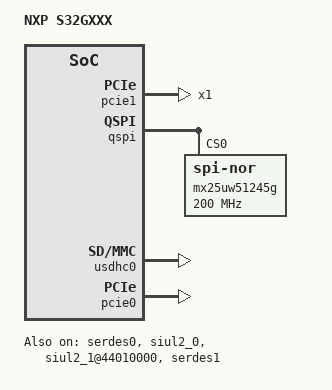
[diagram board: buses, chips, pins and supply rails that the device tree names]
// SPDX-License-Identifier: GPL-2.0+
/*
 * Copyright 2017-2022 NXP
 *
 * This program is free software; you can redistribute it and/or modify
 * it under the terms of the GNU General Public License as published by
 * the Free Software Foundation; either version 2 of the License, or
 * (at your option) any later version.
 */
#include <dt-bindings/clock/s32g-scmi-clock.h>
#include <dt-bindings/nvmem/s32cc-siul2-nvmem.h>
#include <dt-bindings/pinctrl/s32g-pinctrl.h>

#include "s32cc.dtsi"
/ {
	model = "NXP S32GXXX";

	signature {
		key-boot_key {
			required = "conf";
			algo = "sha1,rsa2048";
			key-name-hint = "boot_key";
		};
	};

	reserved-memory {
		#address-cells = <2>;
		#size-cells = <2>;
		ranges;

		pfe_reserved: pfe_reserved@83400000 {
			no-map;
			reg = <0 0x83400000 0 0x8000>; /* 32K */
		};
	};

	soc {
		siul2_0: siul2_0@4009c000 {
			compatible = "simple-mfd";
			status = "okay";
			reg = <0x0 0x4009c000 0x0 0x2000>;
			u-boot,dm-pre-reloc;

			pinctrl0: siul2-pinctrl0 {
				compatible = "nxp,s32cc-siul2-pinctrl";
				#pinctrl-cells = <2>;
				/* MSCR range */
				pins = <&pinctrl0 0 101>,
				/* IMCR range */
				<&pinctrl0 512 595>;
				status = "okay";
			};

			gpio0: siul2-gpio0 {
				compatible = "nxp,s32cc-siul2-gpio";
				#gpio-cells = <2>;
				gpio-controller;
				gpio-ranges = <&pinctrl0 0 0 102>;
				status = "okay";
			};

			siul2_0_nvram: siul2_0_nvram {
				#address-cells = <1>;
				#size-cells = <1>;

				status = "okay";
				u-boot,dm-pre-reloc;

				soc_letter: soc_letter@0 {
					reg = <S32CC_SOC_LETTER S32CC_CELL_SIZE>;
					u-boot,dm-pre-reloc;
				};

				part_no: part_no@4 {
					reg = <S32CC_SOC_PART_NO S32CC_CELL_SIZE>;
					u-boot,dm-pre-reloc;
				};

				soc_major: soc_major@8 {
					reg = <S32CC_SOC_MAJOR S32CC_CELL_SIZE>;
					u-boot,dm-pre-reloc;
				};

				soc_minor: soc_minor@c {
					reg = <S32CC_SOC_MINOR S32CC_CELL_SIZE>;
					u-boot,dm-pre-reloc;
				};

				core_max_freq: core_max_freq@10 {
					reg = <S32CC_MAX_CORE_FREQ S32CC_CELL_SIZE>;
					u-boot,dm-pre-reloc;
				};

				max_cpus_per_cluster: max_cpus_per_cluster@14 {
					reg = <S32CC_MAX_A53_CORES_PER_CLUSTER
					    S32CC_CELL_SIZE>;
					u-boot,dm-pre-reloc;
				};

				a53_cores_mask: a53_cores_mask@18 {
					reg = <S32CC_A53_CORES_MASK S32CC_CELL_SIZE>;
					u-boot,dm-pre-reloc;
				};

				pcie_dev_id: pcie_dev_id@1c {
					reg = <S32CC_OVERWRITE_PCIE_DEV_ID
					    S32CC_CELL_SIZE>;
				};
			};
		};

		siul2_1@44010000 {
			compatible = "simple-mfd";
			status = "okay";
			reg = <0x0 0x44010000 0x0 0x2000>;
			u-boot,dm-pre-reloc;

			pinctrl1: siul2-pinctrl1 {
				compatible = "nxp,s32cc-siul2-pinctrl";
				#pinctrl-cells = <2>;
				/* MSCR range */
				pins = <&pinctrl1 112 190>,
				/* IMCR range */
				<&pinctrl1 631 1023>;
				status = "okay";
			};

			gpio1: siul2-gpio1 {
				compatible = "nxp,s32cc-siul2-gpio";
				#gpio-cells = <2>;
				gpio-controller;
				gpio-ranges = <&pinctrl1 0 112 11>,
					<&pinctrl1 11 144 47>;
				status = "okay";
			};

			siul2_1_nvram: siul2_1_nvram {
				#address-cells = <1>;
				#size-cells = <1>;

				status = "okay";
				u-boot,dm-pre-reloc;

				serdes_presence: serdes_presence@100 {
					reg = <S32CC_SERDES_PRESENCE S32CC_CELL_SIZE>;
				};

				soc_subminor: soc_subminor@108 {
					reg = <S32CC_SOC_SUBMINOR S32CC_CELL_SIZE>;
					u-boot,dm-pre-reloc;
				};
			};
		};

		pcie1: pcie@44100000 {
			compatible = "nxp,s32cc-pcie";
			reg =
				<0x00 0x44100000 0x0 0x80000   /* dbi registers */
				/* configuration space, 4KB each for cfg0 and cfg1
				 * at the end of the outbound memory map
				 */
				0x4f 0xffffe000 0x0 0x00002000>;
			reg-names = "dbi", "config";
			#address-cells = <3>;
			#size-cells = <2>;
			device_type = "pci";
			serdes-handle = <&serdes1>;
			nvmem-cells = <&siul2_0_nvram>;
			device_id = <1>;
			num-lanes = <1>; /* supports max 1 pcie lane */
			link-speed = <3>; /* supports Gen3 speed */
			bus-range = <0x0 0xff>;
			ranges =
				/* downstream I/O, 64KB and aligned naturally just before
				 * the config space to minimize fragmentation
				 */
				<0x81000000 0x0 0x00000000 0x4f 0xfffe0000 0x0 0x00010000
				/* non-prefetchable memory, with best case size
				 * and alignment
				 */
				 0x82000000 0x0 0x00000000 0x48 0x00000000 0x7 0xfffe0000>;
			status = "disabled";
		};

		serdes1: serdes@44180000 {
			compatible = "nxp,s32cc-serdes";
			reg = <0x00 0x44100000 0x0 0x80000   /* dbi registers */
			       0x00 0x44180000 0x0 0x04000>; /* serdes registers */
			reg-names = "dbi", "ss";
			#address-cells = <3>;
			#size-cells = <2>;
			device_type = "pci-generic";
			device_id = <1>;
			num-lanes = <2>; /* supports max 2 lanes */
			clocks = <&clks S32GEN1_SCMI_CLK_SERDES_REF>;
			status = "okay";
		};

		pfe: ethernet@46080000 {
			compatible = "fsl,s32g274a-pfe";
			reg = <0x0 0x46000000 0x0 0x1000000>;
			clocks = <&clks S32G_SCMI_CLK_PFE_PE>,
				<&clks S32G_SCMI_CLK_PFE_AXI>,
				<&clks S32GEN1_SCMI_CLK_GMAC0_TS>,
				/* PFE0 */
				<&clks S32G_SCMI_CLK_PFE0_RX_SGMII>,
				<&clks S32G_SCMI_CLK_PFE0_TX_SGMII>,
				<&clks S32G_SCMI_CLK_PFE0_RX_RGMII>,
				<&clks S32G_SCMI_CLK_PFE0_TX_RGMII>,
				/* PFE1 */
				<&clks S32G_SCMI_CLK_PFE1_RX_SGMII>,
				<&clks S32G_SCMI_CLK_PFE1_TX_SGMII>,
				<&clks S32G_SCMI_CLK_PFE1_RX_RGMII>,
				<&clks S32G_SCMI_CLK_PFE1_TX_RGMII>,
				/* PFE2 */
				<&clks S32G_SCMI_CLK_PFE2_RX_SGMII>,
				<&clks S32G_SCMI_CLK_PFE2_TX_SGMII>,
				<&clks S32G_SCMI_CLK_PFE2_RX_RGMII>,
				<&clks S32G_SCMI_CLK_PFE2_TX_RGMII>;
			clock-names = "pe", "axi", "ts",
				"mac0_rx_sgmii", "mac0_tx_sgmii",
				"mac0_rx_rgmii", "mac0_tx_rgmii",
				"mac1_rx_sgmii", "mac1_tx_sgmii",
				"mac1_rx_rgmii", "mac1_tx_rgmii",
				"mac2_rx_sgmii", "mac2_tx_sgmii",
				"mac2_rx_rgmii", "mac2_tx_rgmii";
			pinctrl-0 = <&pinctrl0_pfe0 &pinctrl0_pfe0_mdio &pinctrl1_pfe0
				&pinctrl1_pfe0_mdio>;
			pinctrl-1 = <&pinctrl0_pfe0_mdio &pinctrl1_pfe0_mdio>;
			pinctrl-2 = <&pinctrl0_pfe1 &pinctrl0_pfe1_mdio &pinctrl1_pfe1
				&pinctrl1_pfe1_mdio>;
			pinctrl-3 = <&pinctrl0_pfe1_mdio &pinctrl1_pfe1_mdio>;
			pinctrl-4 = <&pinctrl0_pfe2 &pinctrl0_pfe2_mdio &pinctrl1_pfe2
				&pinctrl1_pfe2_mdio>;
			pinctrl-5 = <&pinctrl0_pfe2_mdio &pinctrl1_pfe2_mdio>;
			pinctrl-names = "pfe0_rgmii", "pfe0_sgmii",
				"pfe1_rgmii", "pfe1_sgmii",
				"pfe2_rgmii", "pfe2_sgmii";
			status = "disabled";
			memory-region = <&pfe_reserved>;
		};
	};
};

&gmac0 {
	clocks = <&clks S32GEN1_SCMI_CLK_GMAC0_TS>,
		 <&clks S32GEN1_SCMI_CLK_GMAC0_RX_SGMII>,
		 <&clks S32GEN1_SCMI_CLK_GMAC0_TX_SGMII>,
		 <&clks S32GEN1_SCMI_CLK_GMAC0_RX_RGMII>,
		 <&clks S32GEN1_SCMI_CLK_GMAC0_TX_RGMII>,
		 <&clks S32GEN1_SCMI_CLK_GMAC0_AXI>;
	clock-names = "ts", "rx_sgmii", "tx_sgmii",
		      "rx_rgmii", "tx_rgmii", "axi";
	pinctrl-0 = <&pinctrl0_gmac0 &pinctrl0_gmac0_mdio>;
	pinctrl-1 = <&pinctrl0_gmac0_mdio>;
	pinctrl-names = "gmac_rgmii", "gmac_sgmii";
};

&qspi {
	compatible = "nxp,s32g-qspi", "nxp,s32cc-qspi";
	status = "okay";

	mx25uw51245g@0 {
		#address-cells = <1>;
		#size-cells = <1>;
		compatible = "jedec,spi-nor";
		spi-max-frequency = <200000000>;
		spi-tx-bus-width = <8>;
		spi-rx-bus-width = <8>;
		reg = <0>;
	};
};

&usdhc0 {
	status = "okay";
};

&pcie0 {
	status = "okay";

	link-speed = <3>; /* Gen3 */
};

&pcie1 {
	status = "okay";

	link-speed = <2>; /* Gen2 */
};

&serdes0 {
	status = "okay";
};

&pinctrl0 {
	board_generic_pinctrl0 {
		u-boot,dm-pre-reloc;
		pinctrl0_sd0: pinctrl0_sd0 {
			fsl,pins = <PC14_MSCR_S32G PC14_SD0_CLK_CFG
				    PC15_MSCR_S32G PC15_SD0_CMD_CFG
				    PD00_MSCR_S32G PD00_SD0_D0_CFG
				    PD01_MSCR_S32G PD01_SD0_D1_CFG
				    PD02_MSCR_S32G PD02_SD0_D2_CFG
				    PD03_MSCR_S32G PD03_SD0_D3_CFG
				    PD04_MSCR_S32G PD04_SD0_D4_CFG
				    PD05_MSCR_S32G PD05_SD0_D5_CFG
				    PD06_MSCR_S32G PD06_SD0_D6_CFG
				    PD07_MSCR_S32G PD07_SD0_D7_CFG
				    PD08_MSCR_S32G PD08_SD0_RST_CFG
				    PD09_MSCR_S32G PD09_SD0_VSELECT_CFG
				    PD10_MSCR_S32G PD10_SD0_DQS_CFG
				    SD0_CMD_IMCR PC15_SD0_CMD_IN
				    SD0_D0_IMCR PD00_SD0_D0_IN
				    SD0_D1_IMCR PD01_SD0_D1_IN
				    SD0_D2_IMCR PD02_SD0_D2_IN
				    SD0_D3_IMCR PD03_SD0_D3_IN
				    SD0_D4_IMCR PD04_SD0_D4_IN
				    SD0_D5_IMCR PD05_SD0_D5_IN
				    SD0_D6_IMCR PD06_SD0_D6_IN
				    SD0_D7_IMCR PD07_SD0_D7_IN
				    SD0_DQS_IMCR PD10_SD0_DQS_IN
				    >;
		};

		pinctrl0_gmac0_mdio: pinctrl0_gmac0_mdio {
			fsl,pins = <PD12_MSCR_S32G PD12_GMAC0_MDC_CFG
				    PD13_MSCR_S32G PD13_GMAC0_MDIO_CFG
				    GMAC0_MDIO_IMCR PD13_GMAC0_MDIO_IN
				    >;
		};

		pinctrl0_gmac0: pinctrl0_gmac0 {
			fsl,pins = <PE02_MSCR_S32G PE02_GMAC0_TX_CLK_CFG
				    PE03_MSCR_S32G PE03_GMAC0_TX_EN_CFG
				    PE04_MSCR_S32G PE04_GMAC0_TX_D0_CFG
				    PE05_MSCR_S32G PE05_GMAC0_TX_D1_CFG
				    PE06_MSCR_S32G PE06_GMAC0_TX_D2_CFG
				    PE07_MSCR_S32G PE07_GMAC0_TX_D3_CFG
				    PE08_MSCR_S32G PE08_GMAC0_RX_CLK_CFG
				    PE09_MSCR_S32G PE09_GMAC0_RX_DV_CFG
				    PE10_MSCR_S32G PE10_GMAC0_RX_D0_CFG
				    PE11_MSCR_S32G PE11_GMAC0_RX_D1_CFG
				    PE12_MSCR_S32G PE12_GMAC0_RX_D2_CFG
				    PE13_MSCR_S32G PE13_GMAC0_RX_D3_CFG
				    GMAC0_TX_CLK_IMCR PE02_GMAC0_TX_CLK_IN
				    GMAC0_RX_CLK_IMCR PE08_GMAC0_RX_CLK_IN
				    GMAC0_RX_DV_IMCR PE09_GMAC0_RX_DV_IN
				    GMAC0_RX_D0_IMCR PE10_GMAC0_RX_D0_IN
				    GMAC0_RX_D1_IMCR PE11_GMAC0_RX_D1_IN
				    GMAC0_RX_D2_IMCR PE12_GMAC0_RX_D2_IN
				    GMAC0_RX_D3_IMCR PE13_GMAC0_RX_D3_IN
				    >;
		};

		pinctrl0_pfe0_mdio: pinctrl0_pfe0_mdio {
			fsl,pins = <PE15_MSCR_S32G PE15_PFE0_MDIO_CFG
				    PF02_MSCR_S32G PF02_PFE0_MDC_CFG
				    >;
		};

		pinctrl0_pfe0: pinctrl0_pfe0 {
			fsl,pins = <PE14_MSCR_S32G PE14_PFE0_TX_EN_CFG>;
		};

		pinctrl0_pfe1_mdio: pinctrl0_pfe1_mdio {
			fsl,pins = <PD12_MSCR_S32G PD12_PFE1_MDC_CFG
				    PD13_MSCR_S32G PD13_PFE1_MDIO_CFG
				    >;
		};

		pinctrl0_pfe1: pinctrl0_pfe1 {
			fsl,pins = <PE02_MSCR_S32G PE02_PFE1_TX_CLK_CFG
				    PE03_MSCR_S32G PE03_PFE1_TX_EN_CFG
				    PE04_MSCR_S32G PE04_PFE1_TX_D0_CFG
				    PE05_MSCR_S32G PE05_PFE1_TX_D1_CFG
				    PE06_MSCR_S32G PE06_PFE1_TX_D2_CFG
				    PE07_MSCR_S32G PE07_PFE1_TX_D3_CFG
				    PE08_MSCR_S32G PE08_PFE1_RX_CLK_CFG
				    PE09_MSCR_S32G PE09_PFE1_RX_DV_CFG
				    PE10_MSCR_S32G PE10_PFE1_RX_D0_CFG
				    PE11_MSCR_S32G PE11_PFE1_RX_D1_CFG
				    PE12_MSCR_S32G PE12_PFE1_RX_D2_CFG
				    PE13_MSCR_S32G PE13_PFE1_RX_D3_CFG
				    >;
		};

		pinctrl0_pfe2_mdio: pinctrl0_pfe2_mdio {
			fsl,pins = <PE15_MSCR_S32G PE15_PFE2_MDIO_CFG
				    PF02_MSCR_S32G PF02_PFE2_MDC_CFG
				    >;
		};

		pinctrl0_pfe2: pinctrl0_pfe2 {
			fsl,pins = <PE14_MSCR_S32G PE14_PFE2_TX_EN_CFG>;
		};
	};
};

&pinctrl1 {
	board_generic_pinctrl1 {
		pinctrl1_pfe0_mdio: pinctrl1_pfe0_mdio {
			fsl,pins = <PFE0_MDIO_IMCR PE15_PFE0_MDIO_IN>;
		};

		pinctrl1_pfe0: pinctrl1_pfe0 {
			fsl,pins = <PH01_MSCR_S32G PH01_PFE0_TX_D1_CFG
				    PH02_MSCR_S32G PH02_PFE0_TX_D2_CFG
				    PH03_MSCR_S32G PH03_PFE0_TX_D3_CFG
				    PH04_MSCR_S32G PH04_PFE0_RX_CLK_CFG
				    PH05_MSCR_S32G PH05_PFE0_RX_DV_CFG
				    PH06_MSCR_S32G PH06_PFE0_RX_D0_CFG
				    PH07_MSCR_S32G PH07_PFE0_RX_D1_CFG
				    PH08_MSCR_S32G PH08_PFE0_RX_D2_CFG
				    PH09_MSCR_S32G PH09_PFE0_RX_D3_CFG
				    PH10_MSCR_S32G PH10_PFE0_TX_CLK_CFG
				    PJ00_MSCR_S32G PJ00_PFE0_TX_D0_CFG
				    PFE0_RX_CLK_IMCR PH04_PFE0_RX_CLK_IN
				    PFE0_RX_DV_IMCR PH05_PFE0_RX_DV_IN
				    PFE0_RX_D0_IMCR PH06_PFE0_RX_D0_IN
				    PFE0_RX_D1_IMCR PH07_PFE0_RX_D1_IN
				    PFE0_RX_D2_IMCR PH08_PFE0_RX_D2_IN
				    PFE0_RX_D3_IMCR PH09_PFE0_RX_D3_IN
				    >;
		};

		pinctrl1_pfe1_mdio: pinctrl1_pfe1_mdio {
			fsl,pins = <PFE1_MDIO_IMCR PD13_PFE1_MDIO_IN>;
		};

		pinctrl1_pfe1: pinctrl1_pfe1 {
			fsl,pins = <PFE1_RX_CLK_IMCR PE08_PFE1_RX_CLK_IN
				    PFE1_RX_DV_IMCR PE09_PFE1_RX_DV_IN
				    PFE1_RX_D0_IMCR PE10_PFE1_RX_D0_IN
				    PFE1_RX_D1_IMCR PE11_PFE1_RX_D1_IN
				    PFE1_RX_D2_IMCR PE12_PFE1_RX_D2_IN
				    PFE1_RX_D3_IMCR PE13_PFE1_RX_D3_IN
				    >;
		};

		pinctrl1_pfe2_mdio: pinctrl1_pfe2_mdio {
			fsl,pins = <PFE2_MDIO_IMCR PE15_PFE2_MDIO_IN
				    >;
		};

		pinctrl1_pfe2: pinctrl1_pfe2 {
			fsl,pins = <PH01_MSCR_S32G PH01_PFE2_TX_D1_CFG
				    PH02_MSCR_S32G PH02_PFE2_TX_D2_CFG
				    PH03_MSCR_S32G PH03_PFE2_TX_D3_CFG
				    PH04_MSCR_S32G PH04_PFE2_RX_CLK_CFG
				    PH05_MSCR_S32G PH05_PFE2_RX_DV_CFG
				    PH06_MSCR_S32G PH06_PFE2_RX_D0_CFG
				    PH07_MSCR_S32G PH07_PFE2_RX_D1_CFG
				    PH08_MSCR_S32G PH08_PFE2_RX_D2_CFG
				    PH09_MSCR_S32G PH09_PFE2_RX_D3_CFG
				    PH10_MSCR_S32G PH10_PFE2_TX_CLK_CFG
				    PJ00_MSCR_S32G PJ00_PFE2_TX_D0_CFG
				    PFE2_RX_CLK_IMCR PH04_PFE2_RX_CLK_IN
				    PFE2_RX_DV_IMCR PH05_PFE2_RX_DV_IN
				    PFE2_RX_D0_IMCR PH06_PFE2_RX_D0_IN
				    PFE2_RX_D1_IMCR PH07_PFE2_RX_D1_IN
				    PFE2_RX_D2_IMCR PH08_PFE2_RX_D2_IN
				    PFE2_RX_D3_IMCR PH09_PFE2_RX_D3_IN
				    >;
		};
	};
};

&ocotp {
	compatible = "nxp,s32g-ocotp";
};
